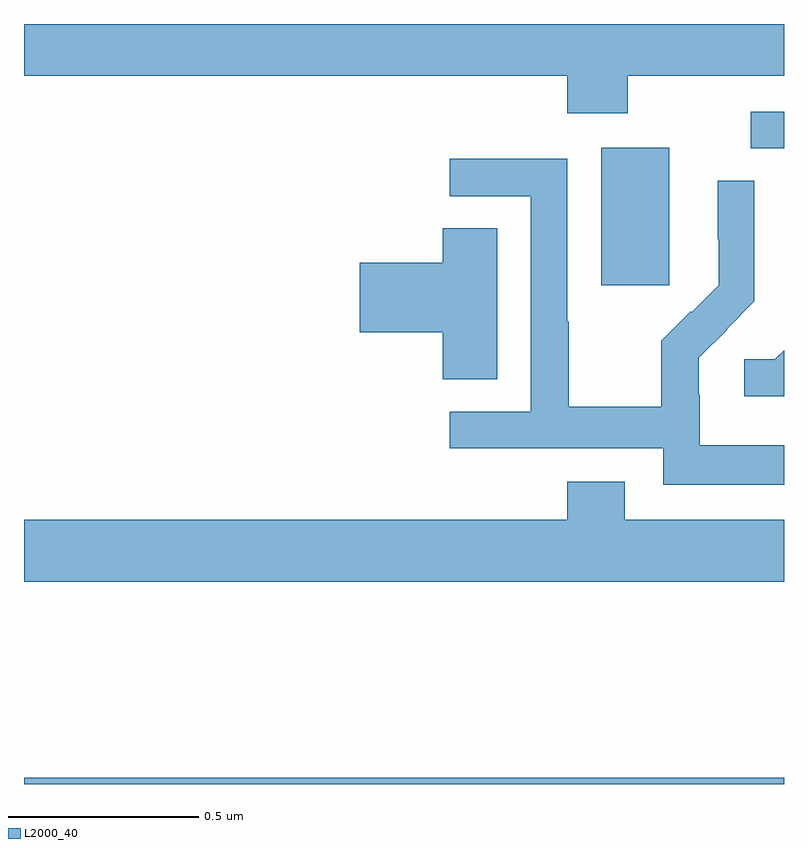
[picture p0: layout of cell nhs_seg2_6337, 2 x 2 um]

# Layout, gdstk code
import gdstk
lib = gdstk.Library(unit=1e-6, precision=1e-09)
def R(c, l, rs):  # rectangles x0, y0, x1, y1
    for r in rs: c.add(gdstk.rectangle(r[:2], r[2:], *l))
def P(c, l, *ps):  # polygons
    for p in ps: c.add(gdstk.Polygon(p, *l))
L2000_40 = (2000, 40)

nhs_seg2_6337 = lib.new_cell('nhs_seg2_6337')
R(nhs_seg2_6337, L2000_40, [(190,617.8,192,617.816), (191.519,619.113,191.698,619.474), (191.913,619.473,192,619.569)])
P(nhs_seg2_6337, L2000_40, [(191.589,619.664),(192,619.664),(192,619.8),(190,619.8),(190,619.664),(191.429,619.664),(191.429,619.565),(191.589,619.565)],
  [(192,618.691),(191.778,618.691),(191.778,618.825),(191.776,618.825),(191.776,618.922),(191.85,618.996),(191.849,618.997),(191.922,619.07),(191.922,619.388),(191.826,619.388),(191.826,619.234),(191.828,619.234),(191.828,619.112),(191.757,619.041),(191.754,619.044),(191.677,618.967),(191.677,618.793),(191.433,618.793),(191.433,619.016),(191.43,619.016),(191.43,619.446),(191.121,619.446),(191.121,619.347),(191.334,619.347),(191.334,618.78),(191.121,618.78),(191.121,618.684),(191.682,618.684),(191.682,618.587),(192,618.587)],
  [(191.245,619.262),(191.102,619.262),(191.102,619.172),(190.884,619.172),(190.884,618.989),(191.102,618.989),(191.102,618.865),(191.245,618.865)],
  [(192,618.942),(191.976,618.918),(191.895,618.918),(191.895,618.821),(192,618.821)],
  [(192,618.496),(191.581,618.496),(191.581,618.595),(191.429,618.595),(191.429,618.496),(190,618.496),(190,618.332),(192,618.332)])

lib.write_gds('nhs_seg2_6337.gds')
